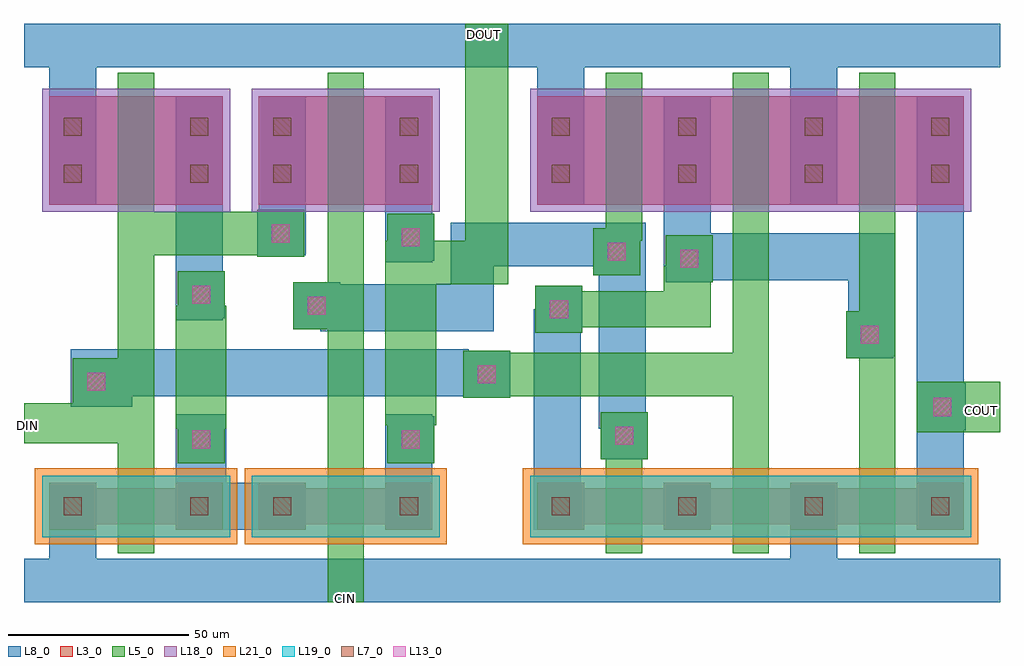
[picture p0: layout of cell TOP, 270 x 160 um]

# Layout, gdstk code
import gdstk
lib = gdstk.Library(unit=1e-6, precision=1e-09)
def R(c, l, rs):  # rectangles x0, y0, x1, y1
    for r in rs: c.add(gdstk.rectangle(r[:2], r[2:], *l))
L3_0 = (3, 0)
L5_0 = (5, 0)
L7_0 = (7, 0)
L8_0 = (8, 0)
L13_0 = (13, 0)
L18_0 = (18, 0)
L19_0 = (19, 0)
L21_0 = (21, 0)

pcont = lib.new_cell('pcont')
R(pcont, L5_0, [(-6.5,-6.5,6.5,6.5)])
R(pcont, L7_0, [(-2.5,-2.5,2.5,2.5)])
R(pcont, L8_0, [(-6.5,-6.5,6.5,6.5)])
R(pcont, L13_0, [(-2.5,-2.5,2.5,2.5)])

dcont = lib.new_cell('dcont')
R(dcont, L3_0, [(-6.5,-6.5,6.5,6.5)])
R(dcont, L7_0, [(-2.5,-2.5,2.5,2.5)])
R(dcont, L8_0, [(-6.5,-6.5,6.5,6.5)])

pch_1 = lib.new_cell('Pch$1')
R(pch_1, L3_0, [(0,17,48,47)])
R(pch_1, L18_0, [(-2,15,50,49)])
pch_1.add(gdstk.FlexPath([(6.5,17),(6.5,47)], 13, ends="flush", simple_path=True, layer=8, datatype=0))  # L8_0
pch_1.add(gdstk.FlexPath([(41.5,17),(41.5,47)], 13, ends="flush", simple_path=True, layer=8, datatype=0))  # L8_0
pch_1.add(gdstk.FlexPath([(24,17),(24,47)], 10, ends=(6.5, 6.5), simple_path=True, layer=5, datatype=0))  # L5_0
pch_1.add(gdstk.Reference(dcont, (6.5,25.5)))
pch_1.add(gdstk.Reference(dcont, (6.5,38.5)))
pch_1.add(gdstk.Reference(dcont, (41.5,25.5)))
pch_1.add(gdstk.Reference(dcont, (41.5,38.5)))

nch_1 = lib.new_cell('Nch$1')
R(nch_1, L3_0, [(0,18.5,48,28.5)])
R(nch_1, L19_0, [(-2,15,50,32)])
R(nch_1, L21_0, [(-4,13,52,34)])
nch_1.add(gdstk.FlexPath([(6.5,17),(6.5,30)], 13, ends="flush", simple_path=True, layer=8, datatype=0))  # L8_0
nch_1.add(gdstk.FlexPath([(41.5,17),(41.5,30)], 13, ends="flush", simple_path=True, layer=8, datatype=0))  # L8_0
nch_1.add(gdstk.FlexPath([(24,17),(24,30)], 10, ends=(6.5, 6.5), simple_path=True, layer=5, datatype=0))  # L5_0
nch_1.add(gdstk.Reference(dcont, (6.5,23.5)))
nch_1.add(gdstk.Reference(dcont, (41.5,23.5)))

top = lib.new_cell('TOP')
R(top, L5_0, [(94,-140,104,-126), (36,-101,46,-36), (94,-101,104,-36), (206,-101,216,-36), (241,-101,251,-36), (10,-96,36,-85), (257,-93,280,-79), (52,-92,66,-58), (110,-91,124,-40), (142,-83,209,-71), (164,-64,200,-54), (187,-54,200,-47), (124,-52,139,-40), (139,-52,144,-40), (46,-44,79,-32), (46,-44,79,-32), (132,-40,144,7), (171,-40,181,-36), (132,7,144,20)])
R(top, L8_0, [(10,-140,80,-128), (80,-140,279,-128), (279,-140,280,-128), (17,-128,30,-120), (222,-128,235,-120), (52,-120,88,-107), (151,-120,164,-88), (52,-107,66,-88), (110,-107,123,-88), (257,-107,270,-30), (169,-92,182,-48), (151,-88,164,-59), (23,-86,40,-70), (36,-83,86,-70), (86,-83,133,-70), (238,-72,251,-38), (92,-65,139,-52), (128,-65,140,-35), (52,-62,65,-26), (200,-51,251,-38), (169,-48,182,-35), (131,-47,181,-35), (187,-47,200,-29), (110,-46,123,-30), (75,-44,88,-28), (17,0,30,8), (152,0,165,8), (222,0,235,8), (10,8,80,20), (80,8,279,20), (279,8,280,20)])
top.add(gdstk.Reference(pcont, (81,-38)))
top.add(gdstk.Reference(pch_1, (17,-47)))
top.add(gdstk.Reference(nch_1, (17,-137)))
top.add(gdstk.Reference(nch_1, (75,-137)))
top.add(gdstk.Reference(pcont, (59,-95)))
top.add(gdstk.Reference(pcont, (59,-55)))
top.add(gdstk.Reference(pch_1, (75,-47)))
top.add(gdstk.Reference(pcont, (117,-39)))
top.add(gdstk.Reference(pcont, (117,-95)))
top.add(gdstk.Reference(pch_1, (152,-47)))
top.add(gdstk.Reference(pch_1, (187,-47)))
top.add(gdstk.Reference(nch_1, (152,-137)))
top.add(gdstk.Reference(nch_1, (187,-137)))
top.add(gdstk.Reference(pch_1, (222,-47)))
top.add(gdstk.Reference(nch_1, (222,-137)))
top.add(gdstk.Reference(pcont, (30,-79)))
top.add(gdstk.Reference(pcont, (91,-58)))
top.add(gdstk.Reference(pcont, (176,-94)))
top.add(gdstk.Reference(pcont, (158,-59)))
top.add(gdstk.Reference(pcont, (194,-45)))
top.add(gdstk.Reference(pcont, (174,-43)))
top.add(gdstk.Reference(pcont, (138,-77)))
top.add(gdstk.Reference(pcont, (244,-66)))
top.add(gdstk.Reference(pcont, (264,-86)))
top.add(gdstk.Label('DIN', (11,-91), layer=5, texttype=0))
top.add(gdstk.Label('CIN', (99,-139), layer=5, texttype=0))
top.add(gdstk.Label('DOUT', (137,17), layer=5, texttype=0))
top.add(gdstk.Label('COUT', (275,-87), layer=5, texttype=0))

lib.write_gds('TOP.gds')
